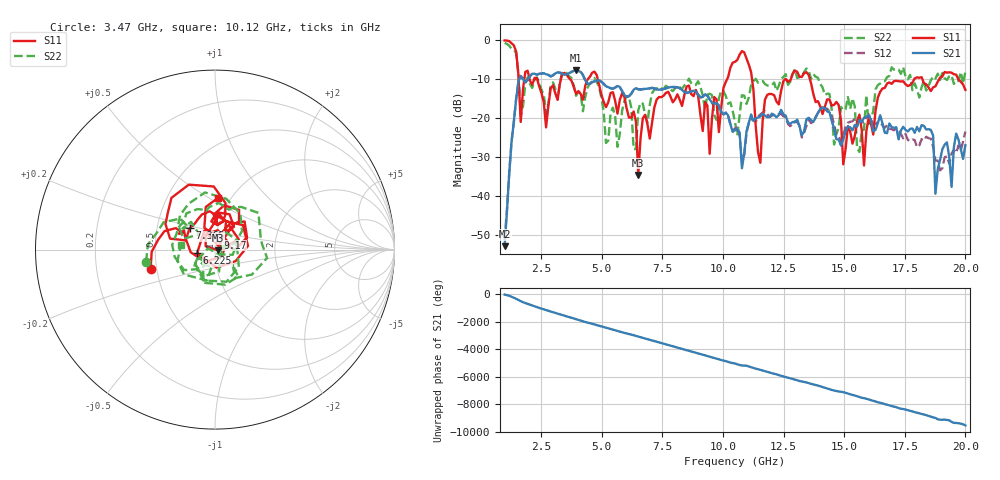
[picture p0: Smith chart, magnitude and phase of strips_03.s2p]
!Agilent Technologies,N5230A,MY45001629,A.07.50.67
!Agilent N5230A: A.07.50.67
!Date: Monday, June 05, 2017 16:31:36
!Correction: S11(Full 2 Port(1,2))
!S21(Full 2 Port(1,2))
!S12(Full 2 Port(1,2))
!S22(Full 2 Port(1,2))
!S2P File: Measurements: S11, S21, S12, S22:
# Hz S  dB  R 50
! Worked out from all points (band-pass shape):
!   201 points, 1 GHz to 20 GHz, reference 50 ohm
!   highest |S21| = -7.84 dB at 3.945 GHz (marker M1); lowest = -52.8 dB at 1 GHz (marker M2)
!   |S21| within 3 dB of the highest: 1.863 GHz to 4.376 GHz (2.513 GHz wide, 80.6 % of centre); 4.625 GHz to 5.005 GHz (380.1 MHz wide, 7.9 % of centre)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
!   lowest |S11| = -34.6 dB at 6.51 GHz (marker M3), VSWR 1.04, Z = 51.8 - j0.432 ohm
!   |S11| at or under -10 dB: 4.836 GHz to 10.18 GHz (5.348 GHz wide, 71.2 % of centre); 11.2 GHz to 12.81 GHz (1.608 GHz wide, 13.4 % of centre); 13.58 GHz to 17.9 GHz (4.319 GHz wide, 27.4 % of centre)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
!   |S22| runs from -28.7 to -0.9 dB; largest |S21 - S12| = 0.039
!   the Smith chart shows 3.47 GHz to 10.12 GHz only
!   S11 on the Smith chart (normalised r, x): 3.47 GHz: 0.46, -0.12; 6.225 GHz: 0.82, -0.03; 7.365 GHz: 0.73, +0.18; 9.17 GHz: 1.02, +0.14; 10.12 GHz: 0.87, +0.55
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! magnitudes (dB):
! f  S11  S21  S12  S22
! 1 GHz  -0.2  -52.8  -51.2  -0.9
! 1.57 GHz  -9.0  -10.7  -10.7  -8.7
! 2.71 GHz  -22.4  -8.9  -8.8  -19.0
! 3.47 GHz  -8.5  -8.9  -8.9  -8.2
! 3.945 GHz  -13.8  -7.8  -7.8  -14.4
! 4.23 GHz  -15.4  -9.0  -9.1  -18.3
! 6.225 GHz  -19.8  -13.8  -13.7  -17.5
! 6.51 GHz  -34.6  -12.7  -12.7  -18.1
! 7.365 GHz  -14.7  -12.8  -12.8  -12.7
! 9.17 GHz  -23.4  -14.7  -14.8  -14.2
! 10.12 GHz  -10.8  -18.6  -18.8  -14.4
! 10.5 GHz  -5.7  -23.0  -22.7  -21.1
! 11.16 GHz  -8.3  -19.1  -20.3  -11.5
! 11.54 GHz  -31.5  -19.6  -19.1  -10.7
! 11.83 GHz  -14.1  -19.8  -19.0  -11.7
! 13.73 GHz  -13.9  -21.0  -21.0  -8.9
! 14.59 GHz  -16.7  -22.7  -21.5  -26.8
! 15.82 GHz  -32.2  -19.9  -21.1  -23.0
! 16.86 GHz  -10.9  -21.4  -22.7  -9.3
! 18.57 GHz  -13.2  -23.1  -25.3  -10.4
! 18.77 GHz  -11.9  -39.4  -30.9  -10.0
! 20 GHz  -12.8  -27.0  -23.5  -8.2
